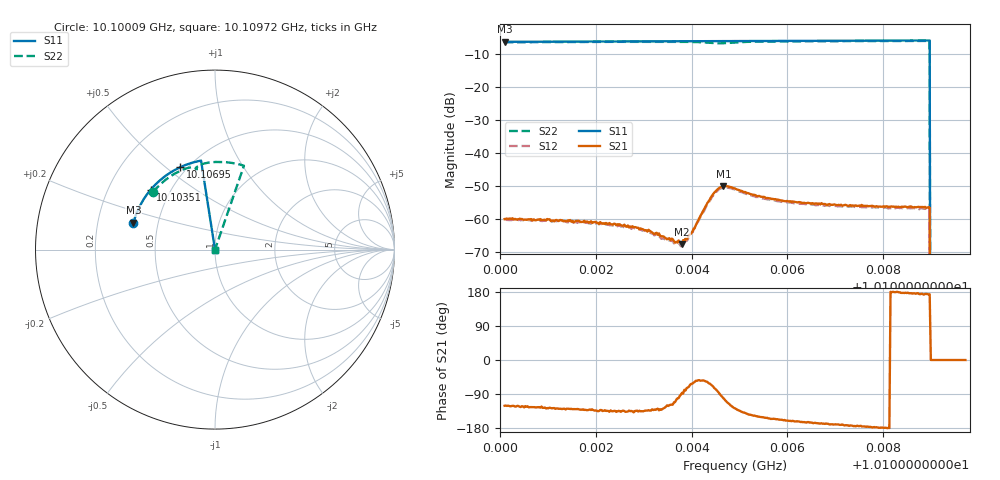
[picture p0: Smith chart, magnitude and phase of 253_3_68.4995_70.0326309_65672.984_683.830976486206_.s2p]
#  HZ  S  RI  R  50.00
! Rohde & Schwarz Vector Network Analyzer
! Rohde-Schwarz,ZNB20-2Port,1311601062101988,3.16
! Created: UTC 3/20/2024, 4:59:56 PM
! freq[Hz]  re:S11  im:S11  re:S21  im:S21  re:S12  im:S12  re:S22  im:S22
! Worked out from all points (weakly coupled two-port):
!   401 points, 10.10009 GHz to 10.10972 GHz, reference 50 ohm
!   highest |S21| = -50.11 dB at 10.10466 GHz (marker M1); lowest = -67.6 dB at 10.1038 GHz (marker M2)
!   lowest |S11| = -6.4 dB at 10.10009 GHz (marker M3), VSWR 2.84, Z = 18 + j7.05 ohm
!   |S11| at or under -10 dB: 10.10897 GHz to end of sweep
!   |S22| runs from - to -6.1 dB; largest |S21 - S12| = 0.00031
!   S11 on the Smith chart (normalised r, x): 10.10009 GHz: 0.36, +0.14; 10.10351 GHz: 0.39, +0.34; 10.10695 GHz: 0.46, +0.56; 10.10972 GHz: 1.00, +0.00
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1.010009e10  -0.4544 0.1508  -0.000508 -0.000853  -0.000433 -0.000882  -0.3461 0.3201
1.0101703e10  -0.419 0.2425  -0.000593 -0.000676  -0.000524 -0.000713  -0.2708 0.392
1.0102738e10  -0.3867 0.2964  -0.000526 -0.000536  -0.00047 -0.000526  -0.2135 0.4289
1.0102978e10  -0.3783 0.3084  -0.000498 -0.000489  -0.000431 -0.000501  -0.1995 0.4362
1.0103315e10  -0.3659 0.3247  -0.00041 -0.000441  -0.000311 -0.000456  -0.1784 0.4457
1.0103508e10  -0.3583 0.3337  -0.000261 -0.00043  -0.000232 -0.000414  -0.1659 0.4504
1.0103725e10  -0.3497 0.3436  -8.71e-05 -0.000463  -5.38e-05 -0.000426  -0.151 0.4549
1.0103797e10  -0.3467 0.3468  2.57e-05 -0.000417  4.57e-05 -0.000401  -0.1458 0.4561
1.0103893e10  -0.3428 0.3511  0.00013 -0.000469  0.000161 -0.000433  -0.1387 0.4575
1.0104013e10  -0.3378 0.3564  0.000294 -0.000563  0.00033 -0.000527  -0.1294 0.4584
1.0104278e10  -0.3264 0.3677  0.000844 -0.00123  0.000911 -0.00108  -0.109 0.4549
1.0104447e10  -0.3188 0.3748  0.000812 -0.00222  0.000955 -0.00204  -0.101 0.4468
1.0104543e10  -0.3146 0.3786  0.000338 -0.00279  0.000552 -0.00264  -0.102 0.443
1.0104663e10  -0.3092 0.3835  -0.000621 -0.00306  -0.000341 -0.00297  -0.1054 0.4438
1.0104904e10  -0.2982 0.3928  -0.00177 -0.00228  -0.00148 -0.00234  -0.1018 0.4583
1.010553e10  -0.2682 0.416  -0.00187 -0.00099  -0.00169 -0.00108  -0.0606 0.4795
1.0106517e10  -0.2173 0.4474  -0.00167 -0.000432  -0.00154 -0.000554  0.0053 0.4883
1.010695e10  -0.1938 0.459  -0.00161 -0.000277  -0.00151 -0.00045  0.0336 0.4885
1.0108129e10  -0.1272 0.4842  -0.00153 -8.04e-06  -0.00145 -0.000148  0.109 0.4803
1.0108924e10  -0.0803 0.4956  -0.00148 0.000154  -0.00142 9.03e-06  0.1583 0.4682
1.0109044e10  0 0  0 0  0 0  0 0
1.0109718e10  0 0  0 0  0 0  0 0
